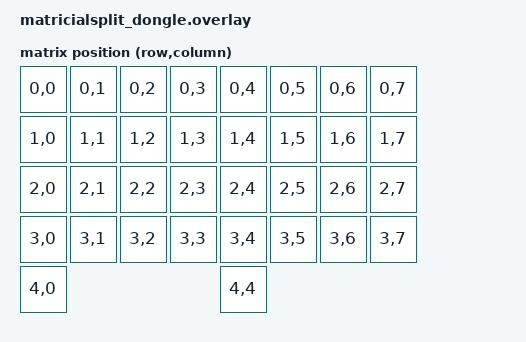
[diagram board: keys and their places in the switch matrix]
#include <dt-bindings/zmk/matrix_transform.h>

/ {
    chosen {
        zmk,kscan = &mock_kscan;
        zmk,matrix_transform = &default_transform;
    };

    // Mock kscan since dongle has no keys
    mock_kscan: mock_kscan_0 {
        compatible = "zmk,kscan-mock";
        columns = <0>;
        rows = <0>;
        events = <0>;
    };

    // Matrix transform para el dongle (mapea ambos lados)
    default_transform: keymap_transform_0 {
        compatible = "zmk,matrix-transform";
        columns = <8>;
        rows = <5>;  // 5 filas para incluir encoder click en RC(4,0)
        map = <
            RC(0,0) RC(0,1) RC(0,2) RC(0,3)    RC(0,4) RC(0,5) RC(0,6) RC(0,7)
            RC(1,0) RC(1,1) RC(1,2) RC(1,3)    RC(1,4) RC(1,5) RC(1,6) RC(1,7)
            RC(2,0) RC(2,1) RC(2,2) RC(2,3)    RC(2,4) RC(2,5) RC(2,6) RC(2,7)
            RC(3,0) RC(3,1) RC(3,2) RC(3,3)    RC(3,4) RC(3,5) RC(3,6) RC(3,7)
            RC(4,0)                            RC(4,4)
        >;
    };

    // Sensores para recibir datos de encoders de ambos lados
    sensors {
        compatible = "zmk,keymap-sensors";
        sensors = <&encoder_sensor_left &encoder_sensor_right>;
        triggers-per-rotation = <1200>;
    };

    // Behaviors dummy para los sensores virtuales
    dummy_behavior: dummy_behavior {
        compatible = "zmk,behavior-none";
        #binding-cells = <0>;
    };

    // Sensores virtuales que reciben datos de los periféricos
    encoder_sensor_left: encoder_sensor_left {
        compatible = "zmk,behavior-sensor-rotate-var";
        #sensor-binding-cells = <2>;
        bindings = <&dummy_behavior>, <&dummy_behavior>;
    };

    encoder_sensor_right: encoder_sensor_right {
        compatible = "zmk,behavior-sensor-rotate-var";
        #sensor-binding-cells = <2>;
        bindings = <&dummy_behavior>, <&dummy_behavior>;
    };
};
